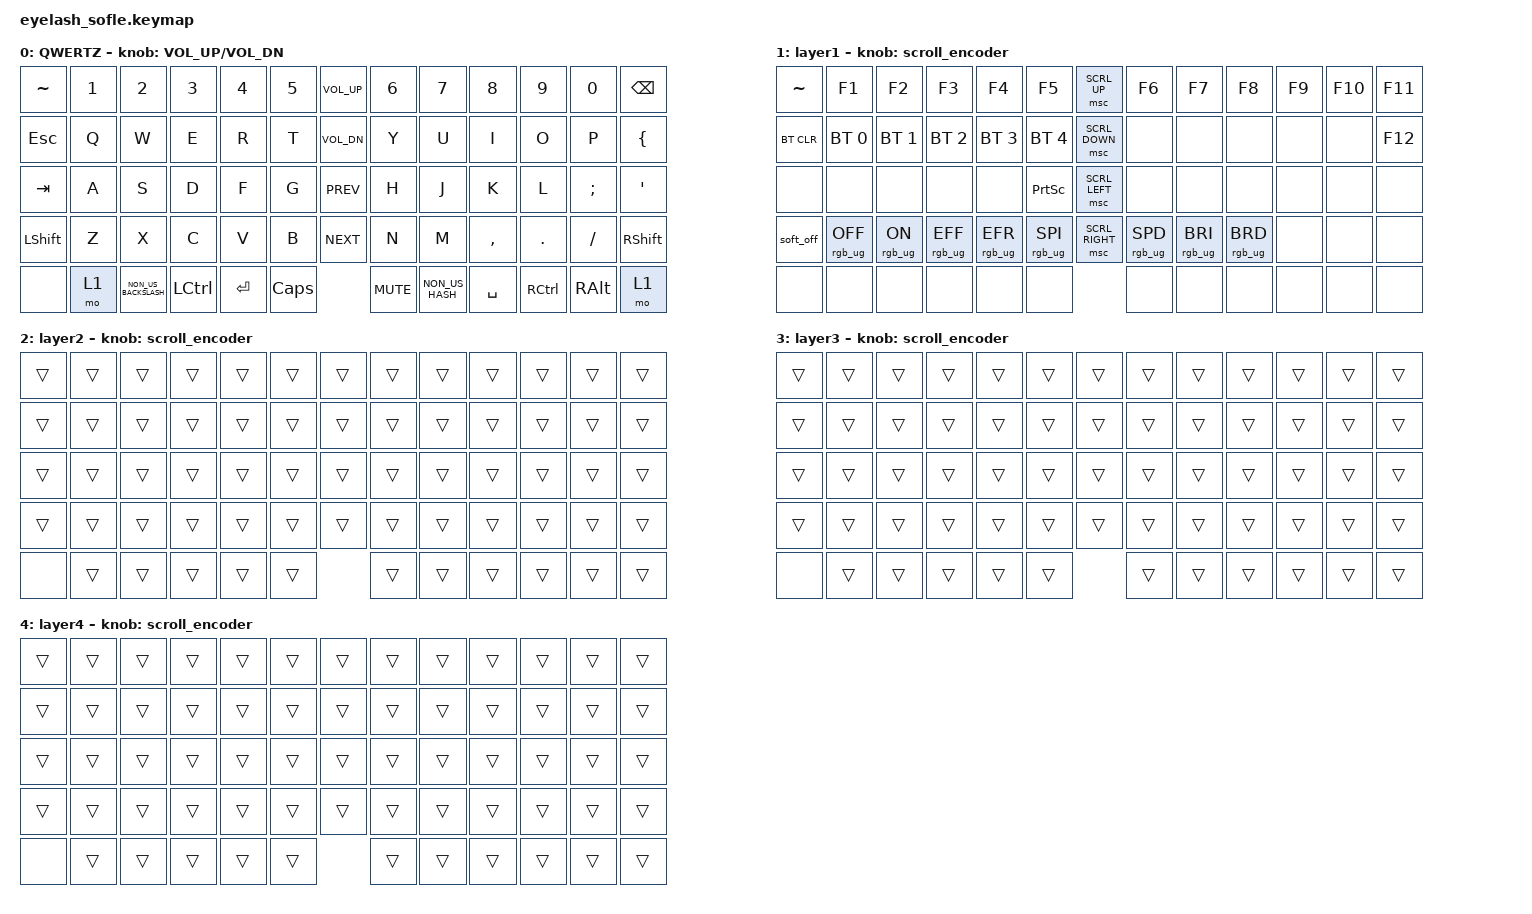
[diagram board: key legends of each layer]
#define ZMK_POINTING_DEFAULT_MOVE_VAL 1200  // 600
#define ZMK_POINTING_DEFAULT_SCRL_VAL 25   // 10

#include <input/processors.dtsi>
#include <zephyr/dt-bindings/input/input-event-codes.h>
#include <behaviors.dtsi>
#include <dt-bindings/zmk/bt.h>
#include <dt-bindings/zmk/keys.h>
#include <dt-bindings/zmk/outputs.h>
#include <dt-bindings/zmk/pointing.h>
#include <dt-bindings/zmk/rgb.h>
// Deutsche Umlaute
#include <locale/keys_de.h>

&mmv_input_listener { input-processors = <&zip_xy_scaler 2 1>; };

&msc_input_listener { input-processors = <&zip_scroll_scaler 2 1>; };

&msc {
    acceleration-exponent = <1>;      // 0
    time-to-max-speed-ms = <100>;       // 300
    delay-ms = <0>;                   // 0
};

&mmv {
    time-to-max-speed-ms = <500>;
    acceleration-exponent = <1>;
    trigger-period-ms = <16>;
};

&soft_off { hold-time-ms = <2000>; };

/ {
    scroll_encoder: scroll_encoder {
        compatible = "zmk,behavior-sensor-rotate";
        #sensor-binding-cells = <0>;
        bindings = <&msc SCRL_DOWN>, <&msc SCRL_UP>;

        tap-ms = <100>;
    };

    behaviors {
    };

    combos {
        compatible = "zmk,combos";

        softoff {
            bindings = <&soft_off>;
            key-positions = <14 28 40>;
        };
    };

    keymap {
        compatible = "zmk,keymap";

//
// neo2: Ebene 1 = Buchstaben, Ebene 2 = Großbuchstaben, Ebene 3 = Zeichen, Ebene 4 = Navigation, Ebene 5 = Griechisch, Ebene 6 = Mathesymbole
//
// keymap profile 0: os:neo2 actual:neo2
// -------------------------------------------------------------------------------------------------------------------------------------
// | GRAVE |   1   |   2   |   3   |   4   |   5   |             VOL_UP              |   6   |   7   |   8   |   9   |   0   |   -   |
// | ESC   |   Q   |   W   |   E   |   R   |   T   | PRV_Track |  MUTE   | NXT_Track |   Z   |   U   |   I   |   O   |   P   |   Ü   |
// | TAB   |   A   |   S   |   D   |   F   |   G   |             VOL_DN              |   H   |   J   |   K   |   L   |   Ö   |   Ä   |
// | SHIFT |   Z   |   X   |   C   |   V   |   B   |               ---               |   N   |   M   |   ,   |   .   |   -   | SHIFT |
//                 |  Mod1 |  Ebe4 |  CRTL |  RET  |   Ebe3    |   ---   |    Ebe3   | SPACE | CRTL  |  Ebe4 |  Mod2 | 
// -------------------------------------------------------------------------------------------------------------------------------------
        default_layer {
            bindings = <
//----------|------------|------------|------------         |------------|------------|------    ------|------------|------------|------------|------------|------------|------------|
&kp TILDE    &kp N1       &kp N2       &kp N3               &kp N4       &kp N5                        &kp K_VOL_UP                  &kp N6       &kp N7       &kp N8       &kp N9       &kp N0       &kp BACKSPACE
&kp ESC      &kp Q        &kp W        &kp E                &kp R        &kp T                         &kp K_VOL_DN                  &kp Y        &kp U        &kp I        &kp O        &kp P        &kp LEFT_BRACE
&kp TAB      &kp A        &kp S        &kp D                &kp F        &kp G                         &kp C_PREV                    &kp H        &kp J        &kp K        &kp L        &kp SEMI     &kp APOS
&kp LSHFT    &kp Z        &kp X        &kp C                &kp V        &kp B                         &kp C_NEXT                    &kp N        &kp M        &kp COMMA    &kp DOT      &kp SLASH    &kp RIGHT_SHIFT
&none                     &mo 1        &kp NON_US_BACKSLASH &kp LCTRL    &kp ENTER     &kp CLCK        &kp K_MUTE   &kp NON_US_HASH  &kp SPACE    &kp RCTRL    &kp RALT     &mo 1
            >;

            display-name = "QWERTZ";
            sensor-bindings = <&inc_dec_kp C_VOLUME_UP C_VOL_DN>;
        };

        layer_1 {
            bindings = <
&kp TILDE   &kp F1           &kp F2          &kp F3           &kp F4           &kp F5                              &msc SCRL_UP                      &kp F6           &kp F7           &kp F8           &kp F9     &kp F10           &kp F11
&bt BT_CLR  &bt BT_SEL 0     &bt BT_SEL 1    &bt BT_SEL 2     &bt BT_SEL 3     &bt BT_SEL 4                        &msc SCRL_DOWN                    &none            &none            &none            &none      &none             &kp F12
&none       &none            &none           &none            &none            &kp PSCRN                           &msc SCRL_LEFT                    &none            &none            &none            &none      &none             &none    
&soft_off   &rgb_ug RGB_OFF  &rgb_ug RGB_ON  &rgb_ug RGB_EFF  &rgb_ug RGB_EFR  &rgb_ug RGB_SPI                     &msc SCRL_RIGHT                   &rgb_ug RGB_SPD  &rgb_ug RGB_BRI  &rgb_ug RGB_BRD  &none      &none             &none
&none                        &none           &none            &none            &none              &none            &none              &none          &none            &none            &none            &none
            >;

            display-name = "layer1";
            sensor-bindings = <&scroll_encoder>;
        };

        layer_2 {
            bindings = <
&trans  &trans  &trans  &trans  &trans  &trans    &trans  &trans  &trans  &trans  &trans  &trans  &trans
&trans  &trans  &trans  &trans  &trans  &trans    &trans  &trans  &trans  &trans  &trans  &trans  &trans
&trans  &trans  &trans  &trans  &trans  &trans    &trans  &trans  &trans  &trans  &trans  &trans  &trans
&trans  &trans  &trans  &trans  &trans  &trans    &trans  &trans  &trans  &trans  &trans  &trans  &trans
&none   &trans  &trans  &trans  &trans  &trans    &trans  &trans  &trans  &trans  &trans  &trans
            >;

            display-name = "layer2";
            sensor-bindings = <&scroll_encoder>;
        };

        layer_3 {
            bindings = <
&trans  &trans  &trans  &trans  &trans  &trans    &trans  &trans  &trans  &trans  &trans  &trans  &trans
&trans  &trans  &trans  &trans  &trans  &trans    &trans  &trans  &trans  &trans  &trans  &trans  &trans
&trans  &trans  &trans  &trans  &trans  &trans    &trans  &trans  &trans  &trans  &trans  &trans  &trans
&trans  &trans  &trans  &trans  &trans  &trans    &trans  &trans  &trans  &trans  &trans  &trans  &trans
&none   &trans  &trans  &trans  &trans  &trans    &trans  &trans  &trans  &trans  &trans  &trans
            >;

            display-name = "layer3";
            sensor-bindings = <&scroll_encoder>;
        };

        layer_4 {
            bindings = <
&trans  &trans  &trans  &trans  &trans  &trans    &trans  &trans  &trans  &trans  &trans  &trans  &trans
&trans  &trans  &trans  &trans  &trans  &trans    &trans  &trans  &trans  &trans  &trans  &trans  &trans
&trans  &trans  &trans  &trans  &trans  &trans    &trans  &trans  &trans  &trans  &trans  &trans  &trans
&trans  &trans  &trans  &trans  &trans  &trans    &trans  &trans  &trans  &trans  &trans  &trans  &trans
&none   &trans  &trans  &trans  &trans  &trans    &trans  &trans  &trans  &trans  &trans  &trans
            >;
         display-name = "layer4";
            sensor-bindings = <&scroll_encoder>;
        };
    };
};
